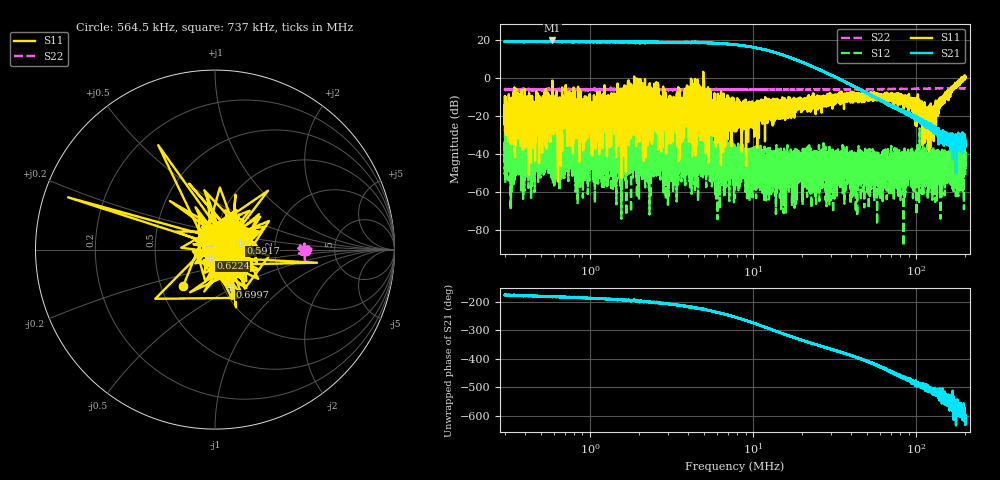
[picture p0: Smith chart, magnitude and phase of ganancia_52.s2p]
# Hz S DB R 50
! CMT, M5065, 19127446, 24.2.4/2
! Date: 11/1/2024 3:45:04 PM
! Data: Format (Calibration Info)
! Freq	S11:dB/Ang(F2)	S21:dB/Ang(F2)	S12:dB/Ang(F2)	S22:dB/Ang(F2)
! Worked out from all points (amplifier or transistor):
!   9000 points, 300 kHz to 200 MHz, reference 50 ohm
!   highest |S21| = 20.0 dB at 588.3 kHz (marker M1)
!   |S21| within 3 dB of that: start of sweep to 8.985 MHz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
!   unconditionally stable (mu >= 1): 2.601 MHz to 3.694 MHz; 5.97 MHz to 189.2 MHz; 190 MHz to 191.4 MHz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
!   at 886.8 kHz: K = 5.12, MAG = 20.7 dB, |S12| = -42.2 dB
!   at 7.749 MHz: K = 8.01, MAG = 19.1 dB, |S12| = -44.5 dB
!   at 200 MHz: K = -541.84, MSG = 9.0 dB, |S12| = -51.2 dB
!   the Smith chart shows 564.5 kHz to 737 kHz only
!   S11 on the Smith chart (normalised r, x): 564.5 kHz: 0.65, -0.29; 591.7 kHz: 1.33, +0.10; 622.4 kHz: 0.95, -0.09; 699.7 kHz: 1.07, -0.47; 737 kHz: 1.16, +0.42
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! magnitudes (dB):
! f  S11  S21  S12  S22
! 300 kHz  -14.4  19.3  -33.9  -6.2
! 337.5 kHz  -19.4  19.4  -36.6  -6.0
! 564.5 kHz  -11.3  19.5  -41.8  -5.9
! 588.3 kHz  -1.2  20.0  -38.3  -6.1
! 591.7 kHz  -16.7  19.2  -49.6  -6.1
! 622.4 kHz  -25.4  19.3  -49.8  -6.0
! 699.7 kHz  -13.0  19.3  -37.6  -6.0
! 737 kHz  -13.7  19.3  -39.6  -6.0
! 886.8 kHz  -16.1  19.3  -42.2  -6.0
! 2.621 MHz  -17.5  19.0  -40.2  -6.1
! 3.318 MHz  -27.3  19.0  -57.5  -6.0
! 4.707 MHz  -13.6  18.9  -35.1  -6.1
! 7.749 MHz  -16.4  17.7  -44.5  -6.0
! 22.91 MHz  -13.7  6.3  -46.8  -5.9
! 38.15 MHz  -9.8  -2.9  -46.1  -5.9
! 58.64 MHz  -8.2  -11.2  -46.7  -5.7
! 67.71 MHz  -11.5  -13.6  -45.0  -5.7
! 94.4 MHz  -10.9  -19.4  -42.1  -5.6
! 120.1 MHz  -21.2  -26.1  -41.7  -5.5
! 137.9 MHz  -12.9  -27.8  -48.0  -5.3
! 193.5 MHz  -0.7  -33.9  -54.1  -5.4
! 200 MHz  0.4  -33.1  -51.2  -5.4
